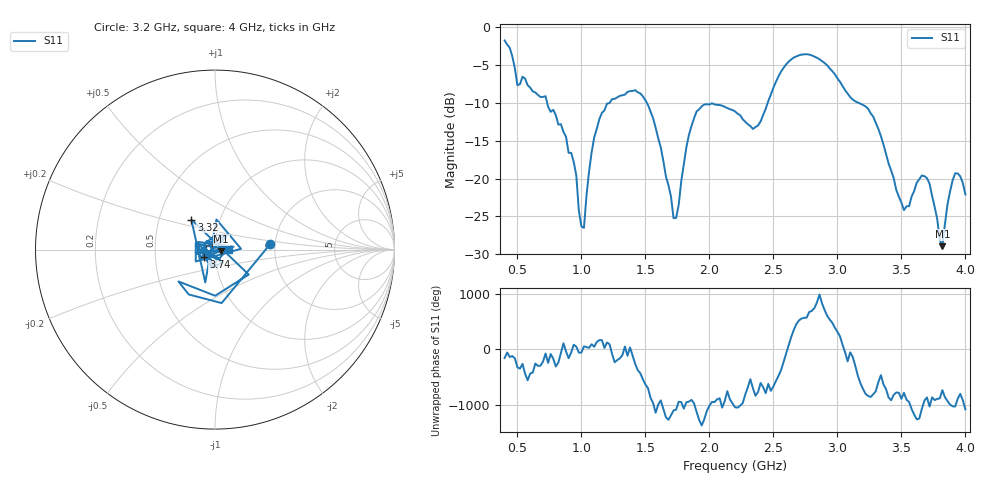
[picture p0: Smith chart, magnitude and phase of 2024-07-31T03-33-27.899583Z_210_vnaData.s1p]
!Created with skrf (http://scikit-rf.org).
# Hz S RI R 50.0
!freq ReS11 ImS11
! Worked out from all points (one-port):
!   181 points, 400 MHz to 4 GHz, reference 50 ohm
!   lowest |S11| = -28.9 dB at 3.82 GHz (marker M1), VSWR 1.07, Z = 53.6 - j1.03 ohm
!   |S11| at or under -10 dB: 732.9 MHz to 1.219 GHz (486.6 MHz wide, 49.8 % of centre); 1.512 GHz to 2.455 GHz (943.1 MHz wide, 47.5 % of centre); 3.168 GHz to end of sweep
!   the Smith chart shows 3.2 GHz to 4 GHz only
!   S11 on the Smith chart (normalised r, x): 3.2 GHz: 1.88, +0.12; 3.32 GHz: 0.73, +0.26; 3.74 GHz: 0.88, -0.08; 4 GHz: 1.17, -0.01
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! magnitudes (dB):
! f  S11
! 400 MHz  -1.7
! 500 MHz  -7.6
! 720 MHz  -9.1
! 860 MHz  -13.8
! 940 MHz  -17.8
! 980 MHz  -24.2
! 1.02 GHz  -26.5
! 1.1 GHz  -14.6
! 1.3 GHz  -9.1
! 1.52 GHz  -10.3
! 1.72 GHz  -25.2
! 1.76 GHz  -23.5
! 1.82 GHz  -15.9
! 1.9 GHz  -11.1
! 2.2 GHz  -11.1
! 2.38 GHz  -13.0
! 2.66 GHz  -4.0
! 2.86 GHz  -4.2
! 3.1 GHz  -9.2
! 3.2 GHz  -10.3
! 3.32 GHz  -13.4
! 3.52 GHz  -24.2
! 3.56 GHz  -23.6
! 3.66 GHz  -19.6
! 3.74 GHz  -22.3
! 3.82 GHz  -28.9
! 3.92 GHz  -19.3
! 4 GHz  -22.1
